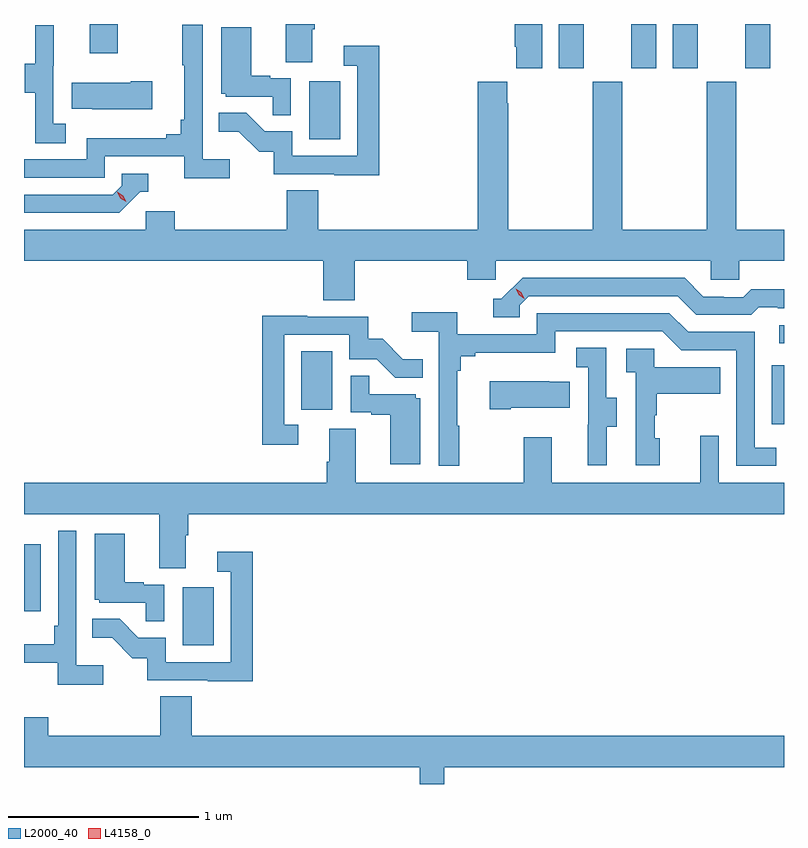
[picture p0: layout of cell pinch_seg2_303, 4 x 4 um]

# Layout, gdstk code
import gdstk
lib = gdstk.Library(unit=1e-6, precision=1e-09)
def R(c, l, rs):  # rectangles x0, y0, x1, y1
    for r in rs: c.add(gdstk.rectangle(r[:2], r[2:], *l))
def P(c, l, *ps):  # polygons
    for p in ps: c.add(gdstk.Polygon(p, *l))
L2000_40 = (2000, 40)
L4158_0 = (4158, 0)

pinch_seg2_303 = lib.new_cell('pinch_seg2_303')
R(pinch_seg2_303, L2000_40, [(900.626,642.948,900.79,643.255), (899.791,643.127,899.878,643.48), (903.726,644.112,903.791,644.422), (901.25,644.19,901.414,644.497), (903.765,644.538,903.791,644.634), (901.292,645.612,901.456,645.919), (902.606,645.987,902.737,646.219), (902.987,645.987,903.118,646.219), (903.206,645.987,903.337,646.219), (903.587,645.987,903.718,646.219), (900.137,646.065,900.285,646.219)])
P(pinch_seg2_303, L2000_40, [(901.309,646.192),(901.322,646.192),(901.322,646.219),(901.169,646.219),(901.169,646.018),(901.309,646.018)],
  [(902.518,646.219),(902.375,646.219),(902.375,646.099),(902.381,646.099),(902.381,645.987),(902.518,645.987)],
  [(900.874,645.508),(900.732,645.508),(900.732,646.216),(900.624,646.216),(900.624,646.003),(900.635,646.003),(900.635,645.715),(900.616,645.715),(900.616,645.638),(900.539,645.638),(900.539,645.619),(900.12,645.619),(900.12,645.507),(899.791,645.507),(899.791,645.411),(900.216,645.411),(900.216,645.522),(900.635,645.522),(900.635,645.406),(900.874,645.406)],
  [(900.01,645.695),(899.946,645.695),(899.946,645.999),(899.948,645.999),(899.948,646.213),(899.849,646.213),(899.849,646.011),(899.795,646.011),(899.795,645.856),(899.85,645.856),(899.85,645.592),(900.01,645.592)],
  [(901.194,645.933),(901.088,645.933),(901.088,645.946),(900.988,645.946),(900.988,646.201),(900.83,646.201),(900.83,645.852),(900.852,645.852),(900.852,645.837),(901.099,645.837),(901.099,645.739),(901.194,645.739)],
  [(901.661,646.105),(901.473,646.105),(901.473,645.999),(901.545,645.999),(901.545,645.525),(901.203,645.525),(901.203,645.654),(901.059,645.654),(900.961,645.752),(900.817,645.752),(900.817,645.653),(900.921,645.653),(901.028,645.546),(901.105,645.546),(901.105,645.429),(901.423,645.429),(901.423,645.424),(901.661,645.424)],
  [(900.466,645.918),(900.353,645.918),(900.353,645.91),(900.043,645.91),(900.043,645.773),(900.151,645.773),(900.151,645.77),(900.466,645.77)],
  [(901.532,644.972),(902.123,644.972),(902.123,644.874),(902.274,644.874),(902.274,644.972),(903.405,644.972),(903.405,644.874),(903.555,644.874),(903.555,644.972),(903.791,644.972),(903.791,645.136),(903.54,645.136),(903.54,645.916),(903.385,645.916),(903.385,645.136),(902.94,645.136),(902.94,645.916),(902.785,645.916),(902.785,645.136),(902.34,645.136),(902.34,645.803),(902.335,645.803),(902.335,645.916),(902.18,645.916),(902.18,645.136),(901.34,645.136),(901.34,645.344),(901.175,645.344),(901.175,645.136),(900.584,645.136),(900.584,645.234),(900.432,645.234),(900.432,645.136),(899.791,645.136),(899.791,644.972),(901.367,644.972),(901.367,644.764),(901.532,644.764)],
  [(900.402,645.336),(900.445,645.336),(900.445,645.432),(900.306,645.432),(900.306,645.369),(900.258,645.321),(899.791,645.321),(899.791,645.225),(900.291,645.225)],
  [(902.4,644.739),(902.448,644.787),(903.231,644.787),(903.33,644.688),(903.619,644.688),(903.658,644.727),(903.757,644.727),(903.757,644.724),(903.791,644.724),(903.791,644.824),(903.619,644.824),(903.577,644.781),(903.474,644.781),(903.474,644.784),(903.367,644.784),(903.268,644.883),(902.415,644.883),(902.304,644.772),(902.261,644.772),(902.261,644.676),(902.4,644.676)],
  [(902.083,644.105),(902.071,644.105),(902.071,644.393),(902.09,644.393),(902.09,644.47),(902.167,644.47),(902.167,644.489),(902.586,644.489),(902.586,644.601),(903.15,644.601),(903.249,644.502),(903.54,644.502),(903.54,643.893),(903.749,643.893),(903.749,643.989),(903.636,643.989),(903.636,644.598),(903.286,644.598),(903.187,644.697),(902.49,644.697),(902.49,644.586),(902.072,644.586),(902.072,644.702),(901.833,644.702),(901.833,644.6),(901.974,644.6),(901.974,643.893),(902.083,643.893)],
  [(901.234,644.109),(901.161,644.109),(901.161,644.583),(901.503,644.583),(901.503,644.454),(901.647,644.454),(901.745,644.356),(901.889,644.356),(901.889,644.455),(901.785,644.455),(901.678,644.562),(901.602,644.562),(901.602,644.679),(901.283,644.679),(901.283,644.684),(901.045,644.684),(901.045,644.004),(901.234,644.004)],
  [(902.857,644.098),(902.911,644.098),(902.911,644.253),(902.856,644.253),(902.856,644.516),(902.697,644.516),(902.697,644.413),(902.76,644.413),(902.76,644.109),(902.759,644.109),(902.759,643.896),(902.857,643.896)],
  [(903.136,644.04),(903.111,644.04),(903.111,644.159),(903.121,644.159),(903.121,644.273),(903.455,644.273),(903.455,644.413),(903.108,644.413),(903.108,644.511),(902.961,644.511),(902.961,644.387),(903.012,644.387),(903.012,643.896),(903.136,643.896)],
  [(901.876,644.25),(901.854,644.25),(901.854,644.271),(901.607,644.271),(901.607,644.369),(901.512,644.369),(901.512,644.175),(901.619,644.175),(901.619,644.163),(901.718,644.163),(901.718,643.902),(901.876,643.902)],
  [(902.353,644.198),(902.663,644.198),(902.663,644.335),(902.555,644.335),(902.555,644.338),(902.241,644.338),(902.241,644.191),(902.353,644.191)],
  [(900.643,643.528),(900.656,643.528),(900.656,643.64),(903.791,643.64),(903.791,643.804),(903.447,643.804),(903.447,644.053),(903.35,644.053),(903.35,643.804),(902.569,643.804),(902.569,644.044),(902.422,644.044),(902.422,643.804),(901.537,643.804),(901.537,644.09),(901.397,644.09),(901.397,643.916),(901.385,643.916),(901.385,643.804),(899.791,643.804),(899.791,643.64),(900.503,643.64),(900.503,643.354),(900.643,643.354)],
  [(900.208,642.844),(900.066,642.844),(900.066,643.552),(899.97,643.552),(899.97,643.051),(899.95,643.051),(899.95,642.955),(899.791,642.955),(899.791,642.858),(899.969,642.858),(899.969,642.742),(900.208,642.742)],
  [(900.528,643.269),(900.422,643.269),(900.422,643.282),(900.322,643.282),(900.322,643.537),(900.164,643.537),(900.164,643.188),(900.186,643.188),(900.186,643.173),(900.433,643.173),(900.433,643.075),(900.528,643.075)],
  [(900.995,643.441),(900.807,643.441),(900.807,643.335),(900.879,643.335),(900.879,642.861),(900.537,642.861),(900.537,642.99),(900.393,642.99),(900.295,643.088),(900.151,643.088),(900.151,642.989),(900.255,642.989),(900.362,642.882),(900.439,642.882),(900.439,642.765),(900.757,642.765),(900.757,642.76),(900.995,642.76)],
  [(902.003,642.308),(903.791,642.308),(903.791,642.472),(900.674,642.472),(900.674,642.68),(900.509,642.68),(900.509,642.472),(899.918,642.472),(899.918,642.57),(899.791,642.57),(899.791,642.308),(901.875,642.308),(901.875,642.219),(902.003,642.219)])
P(pinch_seg2_303, L4158_0, [(900.329,645.283),(900.298,645.302),(900.281,645.334),(900.281,645.335),(900.282,645.335),(900.313,645.316),(900.33,645.283),(900.33,645.283)],
  [(902.424,644.773),(902.394,644.793),(902.378,644.826),(902.378,644.826),(902.378,644.826),(902.409,644.806),(902.424,644.774),(902.424,644.773)])

lib.write_gds('pinch_seg2_303.gds')
